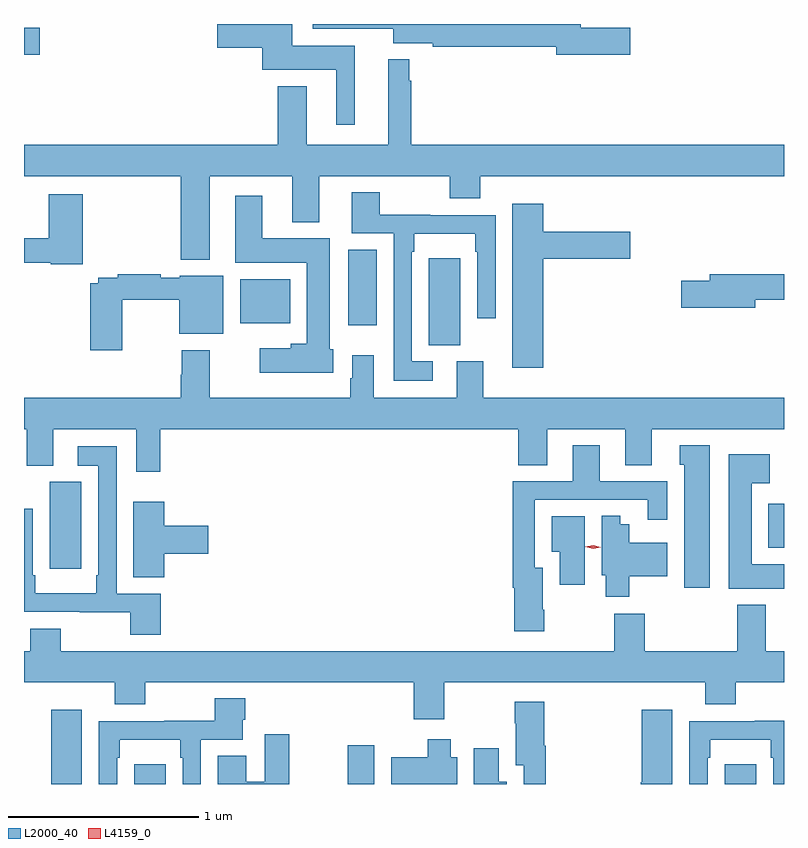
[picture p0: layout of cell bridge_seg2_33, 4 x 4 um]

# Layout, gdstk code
import gdstk
lib = gdstk.Library(unit=1e-6, precision=1e-09)
def R(c, l, rs):  # rectangles x0, y0, x1, y1
    for r in rs: c.add(gdstk.rectangle(r[:2], r[2:], *l))
def P(c, l, *ps):  # polygons
    for p in ps: c.add(gdstk.Polygon(p, *l))
L2000_40 = (2000, 40)
L4159_0 = (4159, 0)

bridge_seg2_33 = lib.new_cell('bridge_seg2_33')
R(bridge_seg2_33, L2000_40, [(768.302,607.14,768.463,607.531), (768.737,607.14,768.904,607.243), (769.861,607.14,770.002,607.345), (771.845,607.14,772.012,607.243), (768.293,608.274,768.46,608.731), (772.076,608.384,772.158,608.614), (770.288,609.449,770.455,609.907), (769.865,609.555,770.014,609.953), (769.295,609.566,769.558,609.796), (768.158,610.978,768.241,611.12)])
P(bridge_seg2_33, L2000_40, [(771.349,611.12),(771.088,611.12),(771.088,611.14),(769.677,611.14),(769.677,611.115),(770.102,611.115),(770.102,611.04),(770.308,611.04),(770.308,611.02),(770.96,611.02),(770.96,610.978),(771.349,610.978)],
  [(769.9,611.026),(769.57,611.026),(769.57,611.14),(769.176,611.14),(769.176,611.015),(769.412,611.015),(769.412,610.898),(769.802,610.898),(769.802,610.611),(769.9,610.611)],
  [(769.135,610.34),(769.571,610.34),(769.571,610.097),(769.711,610.097),(769.711,610.34),(770.398,610.34),(770.398,610.223),(770.558,610.223),(770.558,610.34),(772.158,610.34),(772.158,610.504),(770.197,610.504),(770.197,610.841),(770.186,610.841),(770.186,610.954),(770.075,610.954),(770.075,610.504),(769.645,610.504),(769.645,610.813),(769.493,610.813),(769.493,610.504),(768.158,610.504),(768.158,610.34),(768.983,610.34),(768.983,609.899),(769.135,609.899)],
  [(770.308,609.364),(770.199,609.364),(770.199,609.941),(770.212,609.941),(770.212,610.037),(770.532,610.037),(770.532,609.941),(770.544,609.941),(770.544,609.591),(770.64,609.591),(770.64,610.134),(770.296,610.134),(770.296,610.136),(770.031,610.136),(770.031,610.255),(769.883,610.255),(769.883,610.038),(770.103,610.038),(770.103,609.263),(770.308,609.263)],
  [(768.467,610.243),(768.289,610.243),(768.289,610.012),(768.158,610.012),(768.158,609.883),(768.3,609.883),(768.3,609.875),(768.467,609.875)],
  [(769.786,609.429),(769.768,609.429),(769.768,610.012),(769.411,610.012),(769.411,610.237),(769.271,610.237),(769.271,609.884),(769.646,609.884),(769.646,609.457),(769.563,609.457),(769.563,609.433),(769.398,609.433),(769.398,609.305),(769.786,609.305)],
  [(770.891,609.905),(771.349,609.905),(771.349,610.047),(770.891,610.047),(770.891,610.195),(770.729,610.195),(770.729,609.33),(770.891,609.33)],
  [(772.006,609.688),(772.158,609.688),(772.158,609.824),(771.767,609.824),(771.767,609.788),(771.618,609.788),(771.618,609.646),(772.006,609.646)],
  [(768.676,609.688),(768.974,609.688),(768.974,609.509),(769.207,609.509),(769.207,609.814),(768.978,609.814),(768.978,609.804),(768.878,609.804),(768.878,609.824),(768.652,609.824),(768.652,609.804),(768.548,609.804),(768.548,609.775),(768.506,609.775),(768.506,609.423),(768.676,609.423)],
  [(768.875,609.008),(770.759,609.008),(770.759,608.818),(770.911,608.818),(770.911,609.008),(771.323,609.008),(771.323,608.818),(771.463,608.818),(771.463,609.008),(772.158,609.008),(772.158,609.172),(770.575,609.172),(770.575,609.364),(770.435,609.364),(770.435,609.172),(769.999,609.172),(769.999,609.397),(769.886,609.397),(769.886,609.276),(769.874,609.276),(769.874,609.172),(769.135,609.172),(769.135,609.424),(768.988,609.424),(768.988,609.293),(768.983,609.293),(768.983,609.172),(768.158,609.172),(768.158,609.008),(768.173,609.008),(768.173,608.816),(768.313,608.816),(768.313,609.008),(768.749,609.008),(768.749,608.784),(768.875,608.784)],
  [(771.766,608.923),(771.608,608.923),(771.608,608.82),(771.632,608.82),(771.632,608.172),(771.766,608.172)],
  [(770.895,608.056),(770.887,608.056),(770.887,608.278),(770.847,608.278),(770.847,608.637),(771.44,608.637),(771.44,608.532),(771.544,608.532),(771.544,608.733),(771.187,608.733),(771.187,608.923),(771.047,608.923),(771.047,608.733),(770.731,608.733),(770.731,608.174),(770.738,608.174),(770.738,607.944),(770.895,607.944)],
  [(768.878,608.142),(768.645,608.142),(768.645,608.917),(768.441,608.917),(768.441,608.816),(768.549,608.816),(768.549,608.239),(768.537,608.239),(768.537,608.143),(768.217,608.143),(768.217,608.239),(768.204,608.239),(768.204,608.59),(768.158,608.59),(768.158,608.046),(768.452,608.046),(768.452,608.045),(768.718,608.045),(768.718,607.926),(768.878,607.926)],
  [(772.158,608.296),(771.988,608.296),(771.988,608.723),(772.084,608.723),(772.084,608.875),(771.866,608.875),(771.866,608.168),(772.158,608.168)],
  [(768.896,608.351),(769.129,608.351),(769.129,608.498),(768.896,608.498),(768.896,608.626),(768.734,608.626),(768.734,608.227),(768.896,608.227)],
  [(771.343,608.234),(771.544,608.234),(771.544,608.41),(771.343,608.41),(771.343,608.506),(771.295,608.506),(771.295,608.552),(771.198,608.552),(771.198,608.238),(771.221,608.238),(771.221,608.126),(771.343,608.126)],
  [(771.109,608.548),(770.936,608.548),(770.936,608.363),(770.978,608.363),(770.978,608.19),(771.109,608.19)],
  [(770.37,607.676),(771.743,607.676),(771.743,607.559),(771.903,607.559),(771.903,607.676),(772.158,607.676),(772.158,607.84),(772.063,607.84),(772.063,608.083),(771.911,608.083),(771.911,607.84),(771.425,607.84),(771.425,608.035),(771.265,608.035),(771.265,607.84),(768.351,607.84),(768.351,607.957),(768.191,607.957),(768.191,607.84),(768.158,607.84),(768.158,607.676),(768.635,607.676),(768.635,607.559),(768.795,607.559),(768.795,607.676),(770.21,607.676),(770.21,607.482),(770.37,607.482)],
  [(768.648,607.277),(768.661,607.277),(768.661,607.373),(768.981,607.373),(768.981,607.277),(768.993,607.277),(768.993,607.14),(769.089,607.14),(769.089,607.374),(769.309,607.374),(769.309,607.478),(769.322,607.478),(769.322,607.591),(769.162,607.591),(769.162,607.472),(768.896,607.472),(768.896,607.47),(768.552,607.47),(768.552,607.14),(768.648,607.14)],
  [(770.903,607.342),(770.897,607.342),(770.897,607.573),(770.74,607.573),(770.74,607.46),(770.747,607.46),(770.747,607.238),(770.787,607.238),(770.787,607.14),(770.903,607.14)],
  [(771.571,607.531),(771.41,607.531),(771.41,607.149),(771.404,607.149),(771.404,607.14),(771.571,607.14)],
  [(771.756,607.277),(771.769,607.277),(771.769,607.373),(772.089,607.373),(772.089,607.277),(772.101,607.277),(772.101,607.14),(772.158,607.14),(772.158,607.472),(772.004,607.472),(772.004,607.47),(771.66,607.47),(771.66,607.14),(771.756,607.14)],
  [(769.554,607.402),(769.424,607.402),(769.424,607.153),(769.327,607.153),(769.327,607.289),(769.178,607.289),(769.178,607.14),(769.554,607.14)],
  [(770.437,607.282),(770.404,607.282),(770.404,607.375),(770.282,607.375),(770.282,607.282),(770.09,607.282),(770.09,607.14),(770.437,607.14)],
  [(770.698,607.153),(770.656,607.153),(770.656,607.327),(770.525,607.327),(770.525,607.14),(770.698,607.14)])
P(bridge_seg2_33, L4159_0, [(771.153,608.378),(771.113,608.388),(771.112,608.388),(771.113,608.388),(771.153,608.397),(771.194,608.387),(771.194,608.387),(771.194,608.386)])

lib.write_gds('bridge_seg2_33.gds')
